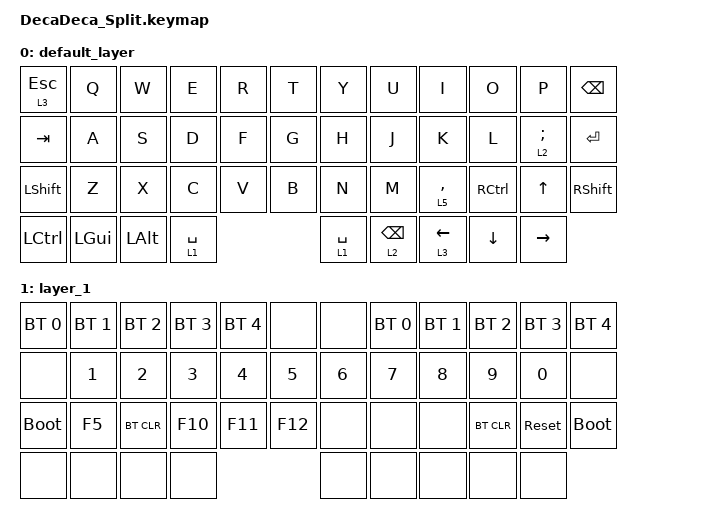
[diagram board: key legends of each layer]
#include <dt-bindings/zmk/mouse.h>
#include <behaviors.dtsi>
#include <dt-bindings/zmk/bt.h>
#include <dt-bindings/zmk/keys.h>

/ {
    keymap {
        compatible = "zmk,keymap";

        default_layer {
            bindings = <
&lt 3 ESC  &kp Q     &kp W     &kp E        &kp R  &kp T  &kp Y        &kp U            &kp I        &kp O      &kp P            &kp BACKSPACE
&kp TAB    &kp A     &kp S     &kp D        &kp F  &kp G  &kp H        &kp J            &kp K        &kp L      &lt 2 SEMICOLON  &kp ENTER
&kp LSHFT  &kp Z     &kp X     &kp C        &kp V  &kp B  &kp N        &kp M            &lt 5 COMMA  &kp RCTRL  &kp UP_ARROW     &kp RSHIFT
&kp LCTRL  &kp LGUI  &kp LALT  &lt 1 SPACE                &lt 1 SPACE  &lt 2 BACKSPACE  &lt 3 LEFT   &kp DOWN   &kp RIGHT
            >;
        };

        layer_1 {
            bindings = <
&bt BT_SEL 0  &bt BT_SEL 1  &bt BT_SEL 2  &bt BT_SEL 3  &bt BT_SEL 4  &none         &none         &bt BT_SEL 0  &bt BT_SEL 1  &bt BT_SEL 2  &bt BT_SEL 3  &bt BT_SEL 4
&none         &kp NUMBER_1  &kp NUMBER_2  &kp NUMBER_3  &kp NUMBER_4  &kp NUMBER_5  &kp NUMBER_6  &kp NUMBER_7  &kp NUMBER_8  &kp NUMBER_9  &kp NUMBER_0  &none
&bootloader   &kp F5        &bt BT_CLR    &kp F10       &kp F11       &kp F12       &none         &none         &none         &bt BT_CLR    &sys_reset    &bootloader
&none         &none         &none         &none                                     &none         &none         &none         &none         &none
            >;
        };
    };
};
